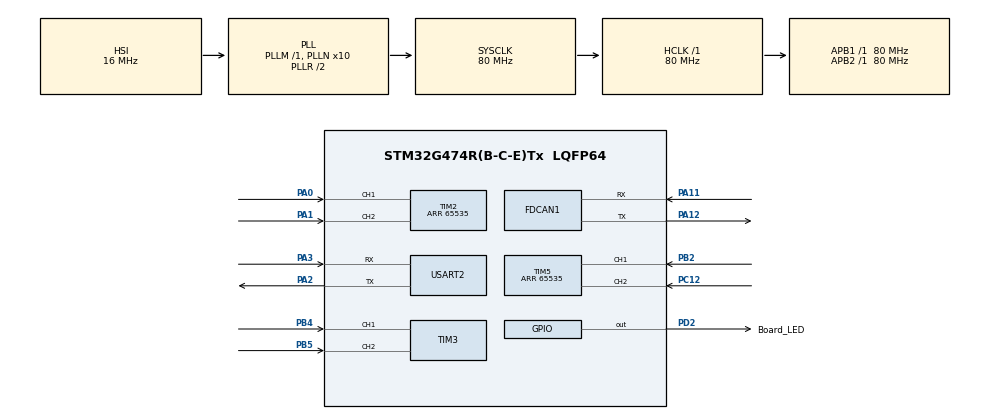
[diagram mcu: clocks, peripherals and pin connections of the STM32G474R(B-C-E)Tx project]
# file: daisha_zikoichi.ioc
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FDCAN1.CalculateBaudRateNominal=1000000
FDCAN1.CalculateTimeBitNominal=1000
FDCAN1.CalculateTimeQuantumNominal=50.0
FDCAN1.DataPrescaler=2
FDCAN1.DataTimeSeg1=15
FDCAN1.DataTimeSeg2=4
FDCAN1.FrameFormat=FDCAN_FRAME_FD_BRS
FDCAN1.NominalPrescaler=4
FDCAN1.NominalTimeSeg1=15
FDCAN1.NominalTimeSeg2=4
FDCAN1.StdFiltersNbr=1
Mcu.Family=STM32G4
Mcu.Name=STM32G474R(B-C-E)Tx
Mcu.Package=LQFP64
NVIC.FDCAN1_IT0_IRQn=true\:0\:0\:false\:false\:true\:true\:true\:true
NVIC.FDCAN1_IT1_IRQn=true\:0\:0\:false\:false\:true\:true\:true\:true
NVIC.PriorityGroup=NVIC_PRIORITYGROUP_4
NVIC.TIM2_IRQn=true\:0\:0\:false\:false\:true\:true\:true\:true
NVIC.TIM3_IRQn=true\:0\:0\:false\:false\:true\:true\:true\:true
NVIC.TIM5_IRQn=true\:0\:0\:false\:false\:true\:true\:true\:true
NVIC.TIM6_DAC_IRQn=true\:0\:0\:false\:false\:true\:true\:true\:true
NVIC.TIM7_DAC_IRQn=true\:0\:0\:false\:false\:true\:true\:true\:true
NVIC.USART2_IRQn=true\:0\:0\:false\:false\:true\:true\:true\:true
PA0.GPIO_PuPd=GPIO_PULLUP
PA0.Signal=S_TIM2_CH1
PA1.GPIO_PuPd=GPIO_PULLUP
PA1.Signal=S_TIM2_CH2
PA11.Mode=FDCAN_Activate
PA11.Signal=FDCAN1_RX
PA12.Mode=FDCAN_Activate
PA12.Signal=FDCAN1_TX
PA2.Mode=Asynchronous
PA2.Signal=USART2_TX
PA3.Mode=Asynchronous
PA3.Signal=USART2_RX
PB2.GPIO_PuPd=GPIO_PULLUP
PB2.Signal=S_TIM5_CH1
PB4.GPIO_PuPd=GPIO_PULLUP
PB4.Signal=S_TIM3_CH1
PB5.GPIO_PuPd=GPIO_PULLUP
PB5.Signal=S_TIM3_CH2
PC12.GPIO_PuPd=GPIO_PULLUP
PC12.Signal=S_TIM5_CH2
PD2.GPIO_Label=Board_LED
PD2.Signal=GPIO_Output
ProjectManager.HeapSize=0x200
ProjectManager.StackSize=0x400
ProjectManager.TargetToolchain=STM32CubeIDE
RCC.ADC12Freq_Value=80000000
RCC.ADC345Freq_Value=80000000
RCC.AHBFreq_Value=80000000
RCC.APB1Freq_Value=80000000
RCC.APB1TimFreq_Value=80000000
RCC.APB2Freq_Value=80000000
RCC.APB2TimFreq_Value=80000000
RCC.CortexFreq_Value=80000000
RCC.EXTERNAL_CLOCK_VALUE=12288000
RCC.HCLKFreq_Value=80000000
RCC.HSE_VALUE=8000000
RCC.HSI48_VALUE=48000000
RCC.HSI_VALUE=16000000
RCC.LSE_VALUE=32768
RCC.PLLN=10
RCC.SYSCLKFreq_VALUE=80000000
RCC.SYSCLKSource=RCC_SYSCLKSOURCE_PLLCLK
RCC.USBFreq_Value=80000000
RCC.VCOOutputFreq_Value=160000000
SH.S_TIM2_CH1.0=TIM2_CH1,Encoder_Interface
SH.S_TIM2_CH2.0=TIM2_CH2,Encoder_Interface
SH.S_TIM3_CH1.0=TIM3_CH1,Encoder_Interface
SH.S_TIM3_CH2.0=TIM3_CH2,Encoder_Interface
SH.S_TIM5_CH1.0=TIM5_CH1,Encoder_Interface
SH.S_TIM5_CH2.0=TIM5_CH2,Encoder_Interface
TIM2.PeriodNoDither=65535
TIM5.PeriodNoDither=65535
TIM6.PeriodNoDither=7999
TIM6.Prescaler=9
TIM7.PeriodNoDither=7999
TIM7.Prescaler=9
USART2.VirtualMode-Asynchronous=VM_ASYNC
VP_SYS_VS_DBSignals.Mode=DisableDeadBatterySignals
VP_TIM6_VS_ClockSourceINT.Mode=Enable_Timer
VP_TIM7_VS_ClockSourceINT.Mode=Enable_Timer
board=custom

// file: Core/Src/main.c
/* USER CODE BEGIN Header */
/**
  ******************************************************************************
  * @file           : main.c
  * @brief          : Main program body
  ******************************************************************************
  * @attention
  *
  * Copyright (c) 2024 STMicroelectronics.
  * All rights reserved.
  *
  * This software is licensed under terms that can be found in the LICENSE file
  * in the root directory of this software component.
  * If no LICENSE file comes with this software, it is provided AS-IS.
  *
  ******************************************************************************
  */
/* USER CODE END Header */
#include "main.h"

/* USER CODE BEGIN Includes */
#include <stdio.h>
#include <math.h>
/* USER CODE END Includes */

/* USER CODE BEGIN PTD */
typedef struct{
	uint8_t ID;
	volatile int16_t count;//pulse
	const float l_angle;//locate
	volatile float vel;//rad/ms
} Encoder;
/* USER CODE END PTD */

/* USER CODE BEGIN PD */
#define PI 3.1415

#define r 60//mm
#define R 144//mm
/* USER CODE END PD */

FDCAN_HandleTypeDef hfdcan1;

TIM_HandleTypeDef htim2;
TIM_HandleTypeDef htim3;
TIM_HandleTypeDef htim5;
TIM_HandleTypeDef htim6;
TIM_HandleTypeDef htim7;

UART_HandleTypeDef huart2;

/* USER CODE BEGIN PV */
FDCAN_TxHeaderTypeDef TxHeader;
FDCAN_RxHeaderTypeDef RxHeader;
FDCAN_FilterTypeDef sFilterConfig;

uint8_t TxData[8] = {};
uint8_t RxData[8] = {};

const float ppr[3] = {1000, 1000, 1000};

Encoder encoder[3] = {
		{0, 0, 0},
		{1, 0, 0},
		{2, 0, 0}
};

volatile float x = 0, y = 288;//mm
volatile float theta = 0;//rad

const int16_t vel_id = 0x100;

/* USER CODE END PV */

void SystemClock_Config(void);
static void MX_GPIO_Init(void);
static void MX_FDCAN1_Init(void);
static void MX_USART2_UART_Init(void);
static void MX_TIM2_Init(void);
static void MX_TIM3_Init(void);
static void MX_TIM5_Init(void);
static void MX_TIM6_Init(void);
static void MX_TIM7_Init(void);

/* USER CODE BEGIN 0 */
void HAL_FDCAN_RxFifo1Callback(FDCAN_HandleTypeDef *hfdcan, uint32_t RxFifo1ITs){
	int16_t CANID = 0;
	if (RESET != (RxFifo1ITs & FDCAN_IT_RX_FIFO1_NEW_MESSAGE)) {

	        /* Retrieve Rx messages from RX FIFO0 */

		if (HAL_OK != HAL_FDCAN_GetRxMessage(&hfdcan1, FDCAN_RX_FIFO1, &RxHeader, RxData)) {
			printf("fdcan_getrxmessage is error\r\n");
			Error_Handler();
		}

		if (CANID == RxHeader.Identifier) {

		}
	}
}

void FDCAN_RxTxSettings(void){
	FDCAN_FilterTypeDef FDCAN_Filter_settings;
	FDCAN_Filter_settings.IdType = FDCAN_STANDARD_ID;
	FDCAN_Filter_settings.FilterIndex = 0;
	FDCAN_Filter_settings.FilterType = FDCAN_FILTER_RANGE;
	FDCAN_Filter_settings.FilterConfig = FDCAN_FILTER_TO_RXFIFO1;
	FDCAN_Filter_settings.FilterID1 = 0;
	FDCAN_Filter_settings.FilterID2 = 0x7FF;

	TxHeader.Identifier = 0x000;
	TxHeader.IdType = FDCAN_STANDARD_ID;
	TxHeader.TxFrameType = FDCAN_DATA_FRAME;
	TxHeader.DataLength = FDCAN_DLC_BYTES_8;
	TxHeader.ErrorStateIndicator = FDCAN_ESI_ACTIVE;
	TxHeader.BitRateSwitch = FDCAN_BRS_ON;
	TxHeader.FDFormat = FDCAN_FD_CAN;
	TxHeader.TxEventFifoControl = FDCAN_NO_TX_EVENTS;
	TxHeader.MessageMarker = 0;

	if (HAL_OK != HAL_FDCAN_ConfigFilter(&hfdcan1, &FDCAN_Filter_settings)){
		printf("fdcan_configfilter is error\r\n");
		Error_Handler();
	}

	if (HAL_OK != HAL_FDCAN_ConfigGlobalFilter(&hfdcan1, FDCAN_REJECT, FDCAN_FILTER_REJECT, FDCAN_FILTER_REMOTE, FDCAN_FILTER_REMOTE)){
		printf("fdcan_configglobalfilter is error\r\n");
		Error_Handler();
	}

	if (HAL_OK != HAL_FDCAN_Start(&hfdcan1)) {
		printf("fdcan_start is error\r\n");
		Error_Handler();
	}

	if (HAL_OK != HAL_FDCAN_ActivateNotification(&hfdcan1, FDCAN_IT_RX_FIFO1_NEW_MESSAGE, 0)){
		printf("fdcan_activatenotification is error\r\n");
		Error_Handler();
	}
}

int16_t read_encoder_value_1(void)
{
  int32_t count_t = 0;
  uint32_t enc_buff = TIM2->CNT;
  TIM2->CNT = 0;
  if (enc_buff > 0x8fffffff)
  {
    count_t = (int32_t)enc_buff*-1;
  }
  else
  {
    count_t = (int32_t)enc_buff;
  }
  return (int16_t)count_t;
}

int16_t read_encoder_value_2(void)
{
  int32_t count_t = 0;
  uint32_t enc_buff = TIM3->CNT;
  TIM3->CNT = 0;
  if (enc_buff > 0x8fffffff)
  {
    count_t = (int32_t)enc_buff*-1;
  }
  else
  {
    count_t = (int32_t)enc_buff;
  }
  return (int16_t)count_t;
}

int16_t read_encoder_value_3(void)
{
  int32_t count_t = 0;
  uint32_t enc_buff = TIM5->CNT;
  TIM5->CNT = 0;
  if (enc_buff > 0x8fffffff)
  {
    count_t = (int32_t)enc_buff*-1;
  }
  else
  {
    count_t = (int32_t)enc_buff;
  }
  return (int16_t)count_t;
}

void vel_calc(float Theta, float w1, float w2, float w3, float *Vx, float *Vy, float *Omega){

	float w[3] = {w1, w2, w3};

	float sint = sin(Theta);
	float cost = cos(Theta);

	float a[3][3] = {
			{-sint,  cost, R},
			{ sint, -cost, R},
			{ cost,  sint, R}
	};

	float det = a[0][0]*a[1][1]*a[2][2];
	det += a[1][0]*a[2][1]*a[0][2];
	det += a[2][0]*a[0][1]*a[1][2];
	det -= a[2][0]*a[1][1]*a[0][2];
	det -= a[1][0]*a[0][1]*a[2][2];
	det -= a[0][0]*a[2][1]*a[1][2];

	float a_in[3][3] = {
			{( a[1][1]*a[2][2] - a[1][2]*a[2][1])/det, (-a[0][1]*a[2][2] + a[0][2]*a[2][1])/det, ( a[0][1]*a[1][2] - a[0][2]*a[1][1])/det},
			{(-a[1][0]*a[2][2] + a[1][2]*a[2][0])/det, ( a[0][0]*a[2][2] - a[0][2]*a[2][0])/det, (-a[0][0]*a[1][2] + a[0][2]*a[1][0])/det},
			{( a[1][0]*a[2][1] - a[1][1]*a[2][0])/det, (-a[0][0]*a[2][1] + a[0][1]*a[2][0])/det, ( a[0][0]*a[1][1] - a[0][1]*a[1][0])/det}
	};

	*Vx =    r*(a_in[0][0]*w[0] + a_in[0][1]*w[1] + a_in[0][2]*w[2])/2;
	*Vy =    r*(a_in[1][0]*w[0] + a_in[1][1]*w[1] + a_in[1][2]*w[2])/2;
	*Omega = r*(a_in[2][0]*w[0] + a_in[2][1]*w[1] + a_in[2][2]*w[2])/2;
}

void HAL_TIM_PeriodElapsedCallback(TIM_HandleTypeDef *htim){
	if (&htim6 == htim) {
		float dt = 1;//ms
		float vx = 0, vy = 0;//mm/ms
		float omega = 0;//rad/ms
		encoder[0].count = read_encoder_value_1();
		encoder[1].count = read_encoder_value_2();
		encoder[2].count = read_encoder_value_3();
		for (int i = 0; i < 3; i++) {
			encoder[i].vel = 2*PI*((float)encoder[i].count/ppr[i])/dt;
		}
		vel_calc(theta, encoder[0].vel, encoder[1].vel, encoder[2].vel, &vx, &vy, &omega);

		x += vx * dt;
		y += vy * dt;
		theta += omega * dt	;

		theta = fmodf(theta, 2*PI);
	}
}

void zahyo_can(float X, float Y, float Theta) {
	TxData[0] = (int16_t)(X) >> 8;
	TxData[1] = (uint8_t)((int16_t)(X) & 0xff);
	TxData[2] = (int16_t)(Y) >> 8;
	TxData[3] = (uint8_t)((int16_t)(Y) & 0xff);
	TxData[4] = (int16_t)(Theta * 400) >> 8;
	TxData[5] = (uint8_t)((int16_t)(Theta * 400) & 0xff);
	TxHeader.Identifier = 0x400;
	if (HAL_OK != HAL_FDCAN_AddMessageToTxFifoQ(&hfdcan1, &TxHeader, TxData)){
		printf("add_message_zahyo is error\r\n");
		Error_Handler();
	}
}

int _write(int file, char *ptr, int len)
{
    HAL_UART_Transmit(&huart2,(uint8_t *)ptr,len,10);
    return len;
}
/* USER CODE END 0 */

int main(void)
{

  /* USER CODE BEGIN 1 */
	setbuf(stdout, NULL);
  /* USER CODE END 1 */

  /* MCU Configuration--------------------------------------------------------*/

  /* Reset of all peripherals, Initializes the Flash interface and the Systick. */
  HAL_Init();

  /* Configure the system clock */
  SystemClock_Config();

  /* Initialize all configured peripherals */
  MX_GPIO_Init();
  MX_FDCAN1_Init();
  MX_USART2_UART_Init();
  MX_TIM2_Init();
  MX_TIM3_Init();
  MX_TIM5_Init();
  MX_TIM6_Init();
  MX_TIM7_Init();
  /* USER CODE BEGIN 2 */
  printf("start\r\n");
  printf("can start\r\n");
  FDCAN_RxTxSettings();
  HAL_TIM_Base_Start_IT(&htim6);
  HAL_TIM_Base_Start_IT(&htim7);
  HAL_TIM_Encoder_Start(&htim2, TIM_CHANNEL_ALL);
  HAL_TIM_Encoder_Start(&htim3, TIM_CHANNEL_ALL);
  HAL_TIM_Encoder_Start(&htim5, TIM_CHANNEL_ALL);
  /* USER CODE END 2 */

  /* Infinite loop */
  /* USER CODE BEGIN WHILE */
  while (1)
  {
	  //int count = read_encoder_value_1();
	  //printf("%d\r\n", count);
	  zahyo_can(x, y, theta);
	  printf("%f, %f, %f\r\n", x, y, theta);
	  HAL_Delay(50);
    /* USER CODE END WHILE */

  }
}

void SystemClock_Config(void)
{
  RCC_OscInitTypeDef RCC_OscInitStruct = {0};
  RCC_ClkInitTypeDef RCC_ClkInitStruct = {0};

  /** Configure the main internal regulator output voltage
  */
  HAL_PWREx_ControlVoltageScaling(PWR_REGULATOR_VOLTAGE_SCALE1);

  /** Initializes the RCC Oscillators according to the specified parameters
  * in the RCC_OscInitTypeDef structure.
  */
  RCC_OscInitStruct.OscillatorType = RCC_OSCILLATORTYPE_HSI;
  RCC_OscInitStruct.HSIState = RCC_HSI_ON;
  RCC_OscInitStruct.HSICalibrationValue = RCC_HSICALIBRATION_DEFAULT;
  RCC_OscInitStruct.PLL.PLLState = RCC_PLL_ON;
  RCC_OscInitStruct.PLL.PLLSource = RCC_PLLSOURCE_HSI;
  RCC_OscInitStruct.PLL.PLLM = RCC_PLLM_DIV1;
  RCC_OscInitStruct.PLL.PLLN = 10;
  RCC_OscInitStruct.PLL.PLLP = RCC_PLLP_DIV2;
  RCC_OscInitStruct.PLL.PLLQ = RCC_PLLQ_DIV2;
  RCC_OscInitStruct.PLL.PLLR = RCC_PLLR_DIV2;
  if (HAL_RCC_OscConfig(&RCC_OscInitStruct) != HAL_OK)
  {
    Error_Handler();
  }

  /** Initializes the CPU, AHB and APB buses clocks
  */
  RCC_ClkInitStruct.ClockType = RCC_CLOCKTYPE_HCLK|RCC_CLOCKTYPE_SYSCLK
                              |RCC_CLOCKTYPE_PCLK1|RCC_CLOCKTYPE_PCLK2;
  RCC_ClkInitStruct.SYSCLKSource = RCC_SYSCLKSOURCE_PLLCLK;
  RCC_ClkInitStruct.AHBCLKDivider = RCC_SYSCLK_DIV1;
  RCC_ClkInitStruct.APB1CLKDivider = RCC_HCLK_DIV1;
  RCC_ClkInitStruct.APB2CLKDivider = RCC_HCLK_DIV1;

  if (HAL_RCC_ClockConfig(&RCC_ClkInitStruct, FLASH_LATENCY_2) != HAL_OK)
  {
    Error_Handler();
  }
}

static void MX_FDCAN1_Init(void)
{

  hfdcan1.Instance = FDCAN1;
  hfdcan1.Init.ClockDivider = FDCAN_CLOCK_DIV1;
  hfdcan1.Init.FrameFormat = FDCAN_FRAME_FD_BRS;
  hfdcan1.Init.Mode = FDCAN_MODE_NORMAL;
  hfdcan1.Init.AutoRetransmission = DISABLE;
  hfdcan1.Init.TransmitPause = DISABLE;
  hfdcan1.Init.ProtocolException = DISABLE;
  hfdcan1.Init.NominalPrescaler = 4;
  hfdcan1.Init.NominalSyncJumpWidth = 1;
  hfdcan1.Init.NominalTimeSeg1 = 15;
  hfdcan1.Init.NominalTimeSeg2 = 4;
  hfdcan1.Init.DataPrescaler = 2;
  hfdcan1.Init.DataSyncJumpWidth = 1;
  hfdcan1.Init.DataTimeSeg1 = 15;
  hfdcan1.Init.DataTimeSeg2 = 4;
  hfdcan1.Init.StdFiltersNbr = 1;
  hfdcan1.Init.ExtFiltersNbr = 0;
  hfdcan1.Init.TxFifoQueueMode = FDCAN_TX_FIFO_OPERATION;
  if (HAL_FDCAN_Init(&hfdcan1) != HAL_OK)
  {
    Error_Handler();
  }

}

static void MX_TIM2_Init(void)
{

  TIM_Encoder_InitTypeDef sConfig = {0};
  TIM_MasterConfigTypeDef sMasterConfig = {0};

  htim2.Instance = TIM2;
  htim2.Init.Prescaler = 0;
  htim2.Init.CounterMode = TIM_COUNTERMODE_UP;
  htim2.Init.Period = 65535;
  htim2.Init.ClockDivision = TIM_CLOCKDIVISION_DIV1;
  htim2.Init.AutoReloadPreload = TIM_AUTORELOAD_PRELOAD_DISABLE;
  sConfig.EncoderMode = TIM_ENCODERMODE_TI1;
  sConfig.IC1Polarity = TIM_ICPOLARITY_RISING;
  sConfig.IC1Selection = TIM_ICSELECTION_DIRECTTI;
  sConfig.IC1Prescaler = TIM_ICPSC_DIV1;
  sConfig.IC1Filter = 0;
  sConfig.IC2Polarity = TIM_ICPOLARITY_RISING;
  sConfig.IC2Selection = TIM_ICSELECTION_DIRECTTI;
  sConfig.IC2Prescaler = TIM_ICPSC_DIV1;
  sConfig.IC2Filter = 0;
  if (HAL_TIM_Encoder_Init(&htim2, &sConfig) != HAL_OK)
  {
    Error_Handler();
  }
  sMasterConfig.MasterOutputTrigger = TIM_TRGO_RESET;
  sMasterConfig.MasterSlaveMode = TIM_MASTERSLAVEMODE_DISABLE;
  if (HAL_TIMEx_MasterConfigSynchronization(&htim2, &sMasterConfig) != HAL_OK)
  {
    Error_Handler();
  }

}

static void MX_TIM3_Init(void)
{

  TIM_Encoder_InitTypeDef sConfig = {0};
  TIM_MasterConfigTypeDef sMasterConfig = {0};

  htim3.Instance = TIM3;
  htim3.Init.Prescaler = 0;
  htim3.Init.CounterMode = TIM_COUNTERMODE_UP;
  htim3.Init.Period = 65535;
  htim3.Init.ClockDivision = TIM_CLOCKDIVISION_DIV1;
  htim3.Init.AutoReloadPreload = TIM_AUTORELOAD_PRELOAD_DISABLE;
  sConfig.EncoderMode = TIM_ENCODERMODE_TI1;
  sConfig.IC1Polarity = TIM_ICPOLARITY_RISING;
  sConfig.IC1Selection = TIM_ICSELECTION_DIRECTTI;
  sConfig.IC1Prescaler = TIM_ICPSC_DIV1;
  sConfig.IC1Filter = 0;
  sConfig.IC2Polarity = TIM_ICPOLARITY_RISING;
  sConfig.IC2Selection = TIM_ICSELECTION_DIRECTTI;
  sConfig.IC2Prescaler = TIM_ICPSC_DIV1;
  sConfig.IC2Filter = 0;
  if (HAL_TIM_Encoder_Init(&htim3, &sConfig) != HAL_OK)
  {
    Error_Handler();
  }
  sMasterConfig.MasterOutputTrigger = TIM_TRGO_RESET;
  sMasterConfig.MasterSlaveMode = TIM_MASTERSLAVEMODE_DISABLE;
  if (HAL_TIMEx_MasterConfigSynchronization(&htim3, &sMasterConfig) != HAL_OK)
  {
    Error_Handler();
  }

}

static void MX_TIM5_Init(void)
{

  TIM_Encoder_InitTypeDef sConfig = {0};
  TIM_MasterConfigTypeDef sMasterConfig = {0};

  htim5.Instance = TIM5;
  htim5.Init.Prescaler = 0;
  htim5.Init.CounterMode = TIM_COUNTERMODE_UP;
  htim5.Init.Period = 65535;
  htim5.Init.ClockDivision = TIM_CLOCKDIVISION_DIV1;
  htim5.Init.AutoReloadPreload = TIM_AUTORELOAD_PRELOAD_DISABLE;
  sConfig.EncoderMode = TIM_ENCODERMODE_TI1;
  sConfig.IC1Polarity = TIM_ICPOLARITY_RISING;
  sConfig.IC1Selection = TIM_ICSELECTION_DIRECTTI;
  sConfig.IC1Prescaler = TIM_ICPSC_DIV1;
  sConfig.IC1Filter = 0;
  sConfig.IC2Polarity = TIM_ICPOLARITY_RISING;
  sConfig.IC2Selection = TIM_ICSELECTION_DIRECTTI;
  sConfig.IC2Prescaler = TIM_ICPSC_DIV1;
  sConfig.IC2Filter = 0;
  if (HAL_TIM_Encoder_Init(&htim5, &sConfig) != HAL_OK)
  {
    Error_Handler();
  }
  sMasterConfig.MasterOutputTrigger = TIM_TRGO_RESET;
  sMasterConfig.MasterSlaveMode = TIM_MASTERSLAVEMODE_DISABLE;
  if (HAL_TIMEx_MasterConfigSynchronization(&htim5, &sMasterConfig) != HAL_OK)
  {
    Error_Handler();
  }

}

static void MX_TIM6_Init(void)
{

  TIM_MasterConfigTypeDef sMasterConfig = {0};

  htim6.Instance = TIM6;
  htim6.Init.Prescaler = 9;
  htim6.Init.CounterMode = TIM_COUNTERMODE_UP;
  htim6.Init.Period = 7999;
  htim6.Init.AutoReloadPreload = TIM_AUTORELOAD_PRELOAD_DISABLE;
  if (HAL_TIM_Base_Init(&htim6) != HAL_OK)
  {
    Error_Handler();
  }
  sMasterConfig.MasterOutputTrigger = TIM_TRGO_RESET;
  sMasterConfig.MasterSlaveMode = TIM_MASTERSLAVEMODE_DISABLE;
  if (HAL_TIMEx_MasterConfigSynchronization(&htim6, &sMasterConfig) != HAL_OK)
  {
    Error_Handler();
  }

}

static void MX_TIM7_Init(void)
{

  TIM_MasterConfigTypeDef sMasterConfig = {0};

  htim7.Instance = TIM7;
  htim7.Init.Prescaler = 9;
  htim7.Init.CounterMode = TIM_COUNTERMODE_UP;
  htim7.Init.Period = 7999;
  htim7.Init.AutoReloadPreload = TIM_AUTORELOAD_PRELOAD_DISABLE;
  if (HAL_TIM_Base_Init(&htim7) != HAL_OK)
  {
    Error_Handler();
  }
  sMasterConfig.MasterOutputTrigger = TIM_TRGO_RESET;
  sMasterConfig.MasterSlaveMode = TIM_MASTERSLAVEMODE_DISABLE;
  if (HAL_TIMEx_MasterConfigSynchronization(&htim7, &sMasterConfig) != HAL_OK)
  {
    Error_Handler();
  }

}

static void MX_USART2_UART_Init(void)
{

  huart2.Instance = USART2;
  huart2.Init.BaudRate = 115200;
  huart2.Init.WordLength = UART_WORDLENGTH_8B;
  huart2.Init.StopBits = UART_STOPBITS_1;
  huart2.Init.Parity = UART_PARITY_NONE;
  huart2.Init.Mode = UART_MODE_TX_RX;
  huart2.Init.HwFlowCtl = UART_HWCONTROL_NONE;
  huart2.Init.OverSampling = UART_OVERSAMPLING_16;
  huart2.Init.OneBitSampling = UART_ONE_BIT_SAMPLE_DISABLE;
  huart2.Init.ClockPrescaler = UART_PRESCALER_DIV1;
  huart2.AdvancedInit.AdvFeatureInit = UART_ADVFEATURE_NO_INIT;
  if (HAL_UART_Init(&huart2) != HAL_OK)
  {
    Error_Handler();
  }
  if (HAL_UARTEx_SetTxFifoThreshold(&huart2, UART_TXFIFO_THRESHOLD_1_8) != HAL_OK)
  {
    Error_Handler();
  }
  if (HAL_UARTEx_SetRxFifoThreshold(&huart2, UART_RXFIFO_THRESHOLD_1_8) != HAL_OK)
  {
    Error_Handler();
  }
  if (HAL_UARTEx_DisableFifoMode(&huart2) != HAL_OK)
  {
    Error_Handler();
  }

}

static void MX_GPIO_Init(void)
{
  GPIO_InitTypeDef GPIO_InitStruct = {0};

  /* GPIO Ports Clock Enable */
  __HAL_RCC_GPIOA_CLK_ENABLE();
  __HAL_RCC_GPIOB_CLK_ENABLE();
  __HAL_RCC_GPIOC_CLK_ENABLE();
  __HAL_RCC_GPIOD_CLK_ENABLE();

  /*Configure GPIO pin Output Level */
  HAL_GPIO_WritePin(Board_LED_GPIO_Port, Board_LED_Pin, GPIO_PIN_RESET);

  /*Configure GPIO pin : Board_LED_Pin */
  GPIO_InitStruct.Pin = Board_LED_Pin;
  GPIO_InitStruct.Mode = GPIO_MODE_OUTPUT_PP;
  GPIO_InitStruct.Pull = GPIO_NOPULL;
  GPIO_InitStruct.Speed = GPIO_SPEED_FREQ_LOW;
  HAL_GPIO_Init(Board_LED_GPIO_Port, &GPIO_InitStruct);

}

void Error_Handler(void)
{
  __disable_irq();
  while (1)
  {
  }
}
